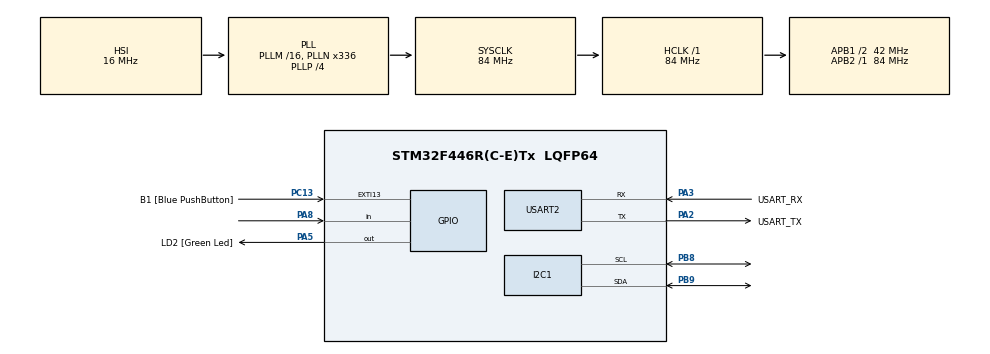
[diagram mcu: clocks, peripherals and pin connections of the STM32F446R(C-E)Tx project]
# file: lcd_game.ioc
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Mcu.Family=STM32F4
Mcu.Name=STM32F446R(C-E)Tx
Mcu.Package=LQFP64
NVIC.PriorityGroup=NVIC_PRIORITYGROUP_0
PA13.GPIO_Label=TMS
PA13.Mode=Serial_Wire
PA13.Signal=SYS_JTMS-SWDIO
PA14.GPIO_Label=TCK
PA14.Mode=Serial_Wire
PA14.Signal=SYS_JTCK-SWCLK
PA2.GPIO_Label=USART_TX
PA2.Mode=Asynchronous
PA2.Signal=USART2_TX
PA3.GPIO_Label=USART_RX
PA3.Mode=Asynchronous
PA3.Signal=USART2_RX
PA5.GPIO_Label=LD2 [Green Led]
PA5.Signal=GPIO_Output
PA8.Signal=GPIO_Input
PB3.GPIO_Label=SWO
PB3.Signal=SYS_JTDO-SWO
PB8.Mode=I2C
PB8.Signal=I2C1_SCL
PB9.Mode=I2C
PB9.Signal=I2C1_SDA
PC13.GPIO_Label=B1 [Blue PushButton]
PC13.GPIO_ModeDefaultEXTI=GPIO_MODE_IT_FALLING
PC13.Signal=GPXTI13
PC14-OSC32_IN.Mode=LSE-External-Oscillator
PC14-OSC32_IN.Signal=RCC_OSC32_IN
PC15-OSC32_OUT.Mode=LSE-External-Oscillator
PC15-OSC32_OUT.Signal=RCC_OSC32_OUT
PH0-OSC_IN.Mode=HSE-External-Oscillator
PH0-OSC_IN.Signal=RCC_OSC_IN
PH1-OSC_OUT.Mode=HSE-External-Oscillator
PH1-OSC_OUT.Signal=RCC_OSC_OUT
ProjectManager.HeapSize=0x200
ProjectManager.StackSize=0x400
ProjectManager.TargetToolchain=STM32CubeIDE
RCC.48MHZClocksFreq_Value=84000000
RCC.AHBFreq_Value=84000000
RCC.APB1CLKDivider=RCC_HCLK_DIV2
RCC.APB1Freq_Value=42000000
RCC.APB1TimFreq_Value=84000000
RCC.APB2Freq_Value=84000000
RCC.APB2TimFreq_Value=84000000
RCC.CortexFreq_Value=84000000
RCC.FLatency-AdvancedSettings=FLASH_LATENCY_2
RCC.HCLKFreq_Value=84000000
RCC.HSE_VALUE=8000000
RCC.HSI_VALUE=16000000
RCC.PLLN=336
RCC.PLLP=RCC_PLLP_DIV4
RCC.SYSCLKFreq_VALUE=84000000
RCC.SYSCLKSource=RCC_SYSCLKSOURCE_PLLCLK
RCC.USBFreq_Value=168000000
RCC.VCOOutputFreq_Value=336000000
USART2.VirtualMode=VM_ASYNC
board=NUCLEO-F446RE

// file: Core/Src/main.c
/* USER CODE BEGIN Header */
/**
  ******************************************************************************
  * @file           : main.c
  * @brief          : Main program body
  ******************************************************************************
  * @attention
  *
  * <h2><center>&copy; Copyright (c) 2021 STMicroelectronics.
  * All rights reserved.</center></h2>
  *
  * This software component is licensed by ST under BSD 3-Clause license,
  * the "License"; You may not use this file except in compliance with the
  * License. You may obtain a copy of the License at:
  *                        opensource.org/licenses/BSD-3-Clause
  *
  ******************************************************************************
  */
/* USER CODE END Header */
#include "main.h"

/* USER CODE BEGIN Includes */
#include "game.h"
#include "lcd.h"
/* USER CODE END Includes */

I2C_HandleTypeDef hi2c1; //Declared as static in lcd.h, initialized here
UART_HandleTypeDef huart2;

void SystemClock_Config(void);
static void MX_GPIO_Init(void);
static void MX_I2C1_Init(void);
static void MX_USART2_UART_Init(void);

/* USER CODE BEGIN 0 */
void SystemClock_Config(void);
static void MX_GPIO_Init(void);
static void MX_I2C1_Init(void);
static void MX_USART2_UART_Init(void);
/* USER CODE BEGIN PFP */

/* USER CODE END PFP */

/* Private user code ---------------------------------------------------------*/
/* USER CODE BEGIN 0 */

/* USER CODE END 0 */

int main(void)
{

  /* MCU Configuration--------------------------------------------------------*/

  /* Reset of all peripherals, Initializes the Flash interface and the Systick. */
  HAL_Init();

  /* Configure the system clock */
  SystemClock_Config();

  /* Initialize all configured peripherals */
  MX_GPIO_Init();
  MX_I2C1_Init();
  MX_USART2_UART_Init();
  /* USER CODE BEGIN 2 */
  game_init();
  /* USER CODE END 2 */

  /* Infinite loop */
  /* USER CODE BEGIN WHILE */
  uint32_t ref_tick1 = HAL_GetTick();
  GPIO_PinState last_read = 0;
  while (1)
  {
    /* USER CODE END WHILE */
	GPIO_PinState btn = HAL_GPIO_ReadPin(GPIOA, GPIO_PIN_8);
	if (btn != last_read){
		if (btn && game_over){
			game_init();
		} else if (btn && game_jump == 0){
			game_jump = 1;
		} else if (!btn && game_jump > 1){
			game_jump = 0;
		}
	}
    /* USER CODE BEGIN 3 */
	//TODO: use timer interrupt
	uint32_t ref_tick2 = HAL_GetTick();
	uint32_t elapsed = ref_tick2 - ref_tick1;
	if (elapsed >= 500){
		ref_tick1 = ref_tick2;
		game_render();
	}
	last_read = btn;
  }
  /* USER CODE END 3 */
}

void SystemClock_Config(void)
{
  RCC_OscInitTypeDef RCC_OscInitStruct = {0};
  RCC_ClkInitTypeDef RCC_ClkInitStruct = {0};

  /** Configure the main internal regulator output voltage
  */
  __HAL_RCC_PWR_CLK_ENABLE();
  __HAL_PWR_VOLTAGESCALING_CONFIG(PWR_REGULATOR_VOLTAGE_SCALE3);
  /** Initializes the RCC Oscillators according to the specified parameters
  * in the RCC_OscInitTypeDef structure.
  */
  RCC_OscInitStruct.OscillatorType = RCC_OSCILLATORTYPE_HSI;
  RCC_OscInitStruct.HSIState = RCC_HSI_ON;
  RCC_OscInitStruct.HSICalibrationValue = RCC_HSICALIBRATION_DEFAULT;
  RCC_OscInitStruct.PLL.PLLState = RCC_PLL_ON;
  RCC_OscInitStruct.PLL.PLLSource = RCC_PLLSOURCE_HSI;
  RCC_OscInitStruct.PLL.PLLM = 16;
  RCC_OscInitStruct.PLL.PLLN = 336;
  RCC_OscInitStruct.PLL.PLLP = RCC_PLLP_DIV4;
  RCC_OscInitStruct.PLL.PLLQ = 2;
  RCC_OscInitStruct.PLL.PLLR = 2;
  if (HAL_RCC_OscConfig(&RCC_OscInitStruct) != HAL_OK)
  {
    Error_Handler();
  }
  /** Initializes the CPU, AHB and APB buses clocks
  */
  RCC_ClkInitStruct.ClockType = RCC_CLOCKTYPE_HCLK|RCC_CLOCKTYPE_SYSCLK
                              |RCC_CLOCKTYPE_PCLK1|RCC_CLOCKTYPE_PCLK2;
  RCC_ClkInitStruct.SYSCLKSource = RCC_SYSCLKSOURCE_PLLCLK;
  RCC_ClkInitStruct.AHBCLKDivider = RCC_SYSCLK_DIV1;
  RCC_ClkInitStruct.APB1CLKDivider = RCC_HCLK_DIV2;
  RCC_ClkInitStruct.APB2CLKDivider = RCC_HCLK_DIV1;

  if (HAL_RCC_ClockConfig(&RCC_ClkInitStruct, FLASH_LATENCY_2) != HAL_OK)
  {
    Error_Handler();
  }
}

static void MX_I2C1_Init(void)
{

  hi2c1.Instance = I2C1;
  hi2c1.Init.ClockSpeed = 100000;
  hi2c1.Init.DutyCycle = I2C_DUTYCYCLE_2;
  hi2c1.Init.OwnAddress1 = 0;
  hi2c1.Init.AddressingMode = I2C_ADDRESSINGMODE_7BIT;
  hi2c1.Init.DualAddressMode = I2C_DUALADDRESS_DISABLE;
  hi2c1.Init.OwnAddress2 = 0;
  hi2c1.Init.GeneralCallMode = I2C_GENERALCALL_DISABLE;
  hi2c1.Init.NoStretchMode = I2C_NOSTRETCH_DISABLE;
  if (HAL_I2C_Init(&hi2c1) != HAL_OK)
  {
    Error_Handler();
  }

}

static void MX_USART2_UART_Init(void)
{

  huart2.Instance = USART2;
  huart2.Init.BaudRate = 115200;
  huart2.Init.WordLength = UART_WORDLENGTH_8B;
  huart2.Init.StopBits = UART_STOPBITS_1;
  huart2.Init.Parity = UART_PARITY_NONE;
  huart2.Init.Mode = UART_MODE_TX_RX;
  huart2.Init.HwFlowCtl = UART_HWCONTROL_NONE;
  huart2.Init.OverSampling = UART_OVERSAMPLING_16;
  if (HAL_UART_Init(&huart2) != HAL_OK)
  {
    Error_Handler();
  }

}

static void MX_GPIO_Init(void)
{
  GPIO_InitTypeDef GPIO_InitStruct = {0};

  /* GPIO Ports Clock Enable */
  __HAL_RCC_GPIOC_CLK_ENABLE();
  __HAL_RCC_GPIOH_CLK_ENABLE();
  __HAL_RCC_GPIOA_CLK_ENABLE();
  __HAL_RCC_GPIOB_CLK_ENABLE();

  /*Configure GPIO pin Output Level */
  HAL_GPIO_WritePin(LD2_GPIO_Port, LD2_Pin, GPIO_PIN_RESET);

  /*Configure GPIO pin : B1_Pin */
  GPIO_InitStruct.Pin = B1_Pin;
  GPIO_InitStruct.Mode = GPIO_MODE_IT_FALLING;
  GPIO_InitStruct.Pull = GPIO_NOPULL;
  HAL_GPIO_Init(B1_GPIO_Port, &GPIO_InitStruct);

  /*Configure GPIO pin : LD2_Pin */
  GPIO_InitStruct.Pin = LD2_Pin;
  GPIO_InitStruct.Mode = GPIO_MODE_OUTPUT_PP;
  GPIO_InitStruct.Pull = GPIO_NOPULL;
  GPIO_InitStruct.Speed = GPIO_SPEED_FREQ_LOW;
  HAL_GPIO_Init(LD2_GPIO_Port, &GPIO_InitStruct);

  /*Configure GPIO pin : PA8 */
  GPIO_InitStruct.Pin = GPIO_PIN_8;
  GPIO_InitStruct.Mode = GPIO_MODE_INPUT;
  GPIO_InitStruct.Pull = GPIO_NOPULL;
  HAL_GPIO_Init(GPIOA, &GPIO_InitStruct);

}

void Error_Handler(void)
{
  __disable_irq();
  while (1)
  {
  }
}

/************************ (C) COPYRIGHT STMicroelectronics *****END OF FILE****/
